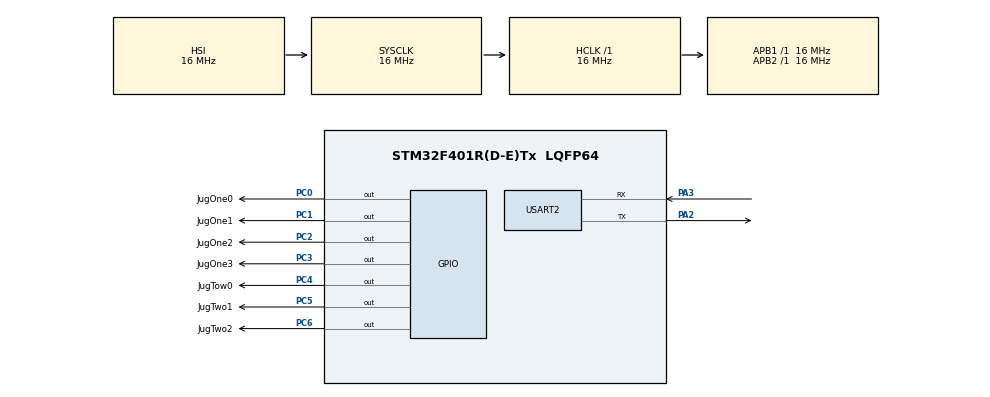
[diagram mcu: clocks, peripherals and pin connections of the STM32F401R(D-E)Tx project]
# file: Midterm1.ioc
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Mcu.Family=STM32F4
Mcu.Name=STM32F401R(D-E)Tx
Mcu.Package=LQFP64
NVIC.PriorityGroup=NVIC_PRIORITYGROUP_4
PA2.Mode=Asynchronous
PA2.Signal=USART2_TX
PA3.Mode=Asynchronous
PA3.Signal=USART2_RX
PC0.GPIO_Label=JugOne0
PC0.GPIO_PuPd=GPIO_PULLDOWN
PC0.Signal=GPIO_Output
PC1.GPIO_Label=JugOne1
PC1.GPIO_PuPd=GPIO_PULLDOWN
PC1.Signal=GPIO_Output
PC2.GPIO_Label=JugOne2
PC2.GPIO_PuPd=GPIO_PULLDOWN
PC2.Signal=GPIO_Output
PC3.GPIO_Label=JugOne3
PC3.GPIO_PuPd=GPIO_PULLDOWN
PC3.Signal=GPIO_Output
PC4.GPIO_Label=JugTow0
PC4.GPIO_PuPd=GPIO_PULLDOWN
PC4.Signal=GPIO_Output
PC5.GPIO_Label=JugTwo1
PC5.GPIO_PuPd=GPIO_PULLDOWN
PC5.Signal=GPIO_Output
PC6.GPIO_Label=JugTwo2
PC6.GPIO_PuPd=GPIO_PULLDOWN
PC6.Signal=GPIO_Output
ProjectManager.HeapSize=0x200
ProjectManager.StackSize=0x400
ProjectManager.TargetToolchain=TrueSTUDIO
RCC.AHBFreq_Value=16000000
RCC.APB1Freq_Value=16000000
RCC.APB2Freq_Value=16000000
RCC.CortexFreq_Value=16000000
RCC.HSE_VALUE=25000000
RCC.HSI_VALUE=16000000
RCC.LSE_VALUE=32768
RCC.SYSCLKFreq_VALUE=16000000
RCC.VCOOutputFreq_Value=192000000
USART2.VirtualMode=VM_ASYNC
board=custom

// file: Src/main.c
/* USER CODE BEGIN Header */
/**
  ******************************************************************************
  * @file           : main.c
  * @brief          : Main program body
  ******************************************************************************
  * @attention
  *
  * <h2><center>&copy; Copyright (c) 2019 STMicroelectronics.
  * All rights reserved.</center></h2>
  *
  * This software component is licensed by ST under BSD 3-Clause license,
  * the "License"; You may not use this file except in compliance with the
  * License. You may obtain a copy of the License at:
  *                        opensource.org/licenses/BSD-3-Clause
  *
  ******************************************************************************
  */
/* USER CODE END Header */

#include "main.h"

/* USER CODE BEGIN Includes */
#include "GPS.h"
#include "UART.h"
/* USER CODE END Includes */

UART_HandleTypeDef huart2;

void SystemClock_Config(void);
static void MX_GPIO_Init(void);
static void MX_USART2_UART_Init(void);

int main(void)
{
  /* USER CODE BEGIN 1 */
	UART uart;
	List solution;
	char uartSend[10];
  /* USER CODE END 1 */

  /* MCU Configuration--------------------------------------------------------*/

  /* Reset of all peripherals, Initializes the Flash interface and the Systick. */
  HAL_Init();

  /* USER CODE BEGIN Init */
  listInit(&solution);
  /* USER CODE END Init */

  /* Configure the system clock */
  SystemClock_Config();

  /* Initialize all configured peripherals */
  MX_GPIO_Init();
  MX_USART2_UART_Init();

  /* Infinite loop */
  /* USER CODE BEGIN WHILE */
  while (1)
  {

	if(generalProblemSolver(&solution))
	{
		Node tempNode;
		int listSize = solution.size;
		HAL_UART_Transmit(&huart2, "Solution found!\r\n", 17, 500);
		blinkLEDS();
		HAL_Delay(500);
		for(int i = 0; i < listSize; i++)
		{
			HAL_Delay(1000);
			tempNode = listPopBack(&solution);
			sendToLED(tempNode);
			sprintf(uartSend, "(%d,%d)", tempNode.element[0], tempNode.element[1]);
			//sprintf(uartSend, "(%d,%d,%d,%d)", tempNode.element[0], tempNode.element[1], tempNode.element[2], tempNode.element[3]);
			HAL_UART_Transmit(&huart2, uartSend, 5, 500);
			HAL_UART_Transmit(&huart2, "\r\n", 2, 500);
		}
	}
	else
		HAL_UART_Transmit(&huart2, "FAILED!", 7, 500);

	HAL_Delay(10000);
    /* USER CODE END WHILE */

  }
}

void SystemClock_Config(void)
{
  RCC_OscInitTypeDef RCC_OscInitStruct = {0};
  RCC_ClkInitTypeDef RCC_ClkInitStruct = {0};

  /** Configure the main internal regulator output voltage
  */
  __HAL_RCC_PWR_CLK_ENABLE();
  __HAL_PWR_VOLTAGESCALING_CONFIG(PWR_REGULATOR_VOLTAGE_SCALE2);
  /** Initializes the CPU, AHB and APB busses clocks
  */
  RCC_OscInitStruct.OscillatorType = RCC_OSCILLATORTYPE_HSI;
  RCC_OscInitStruct.HSIState = RCC_HSI_ON;
  RCC_OscInitStruct.HSICalibrationValue = RCC_HSICALIBRATION_DEFAULT;
  RCC_OscInitStruct.PLL.PLLState = RCC_PLL_NONE;
  if (HAL_RCC_OscConfig(&RCC_OscInitStruct) != HAL_OK)
  {
    Error_Handler();
  }
  /** Initializes the CPU, AHB and APB busses clocks
  */
  RCC_ClkInitStruct.ClockType = RCC_CLOCKTYPE_HCLK|RCC_CLOCKTYPE_SYSCLK
                              |RCC_CLOCKTYPE_PCLK1|RCC_CLOCKTYPE_PCLK2;
  RCC_ClkInitStruct.SYSCLKSource = RCC_SYSCLKSOURCE_HSI;
  RCC_ClkInitStruct.AHBCLKDivider = RCC_SYSCLK_DIV1;
  RCC_ClkInitStruct.APB1CLKDivider = RCC_HCLK_DIV1;
  RCC_ClkInitStruct.APB2CLKDivider = RCC_HCLK_DIV1;

  if (HAL_RCC_ClockConfig(&RCC_ClkInitStruct, FLASH_LATENCY_0) != HAL_OK)
  {
    Error_Handler();
  }
}

static void MX_USART2_UART_Init(void)
{

  huart2.Instance = USART2;
  huart2.Init.BaudRate = 115200;
  huart2.Init.WordLength = UART_WORDLENGTH_8B;
  huart2.Init.StopBits = UART_STOPBITS_1;
  huart2.Init.Parity = UART_PARITY_NONE;
  huart2.Init.Mode = UART_MODE_TX_RX;
  huart2.Init.HwFlowCtl = UART_HWCONTROL_NONE;
  huart2.Init.OverSampling = UART_OVERSAMPLING_16;
  if (HAL_UART_Init(&huart2) != HAL_OK)
  {
    Error_Handler();
  }

}

static void MX_GPIO_Init(void)
{
  GPIO_InitTypeDef GPIO_InitStruct = {0};

  /* GPIO Ports Clock Enable */
  __HAL_RCC_GPIOC_CLK_ENABLE();
  __HAL_RCC_GPIOA_CLK_ENABLE();

  /*Configure GPIO pin Output Level */
  HAL_GPIO_WritePin(GPIOC, JugOne0_Pin|JugOne1_Pin|JugOne2_Pin|JugOne3_Pin
                          |JugTow0_Pin|JugTwo1_Pin|JugTwo2_Pin, GPIO_PIN_RESET);

  /*Configure GPIO pins : JugOne0_Pin JugOne1_Pin JugOne2_Pin JugOne3_Pin
                           JugTow0_Pin JugTwo1_Pin JugTwo2_Pin */
  GPIO_InitStruct.Pin = JugOne0_Pin|JugOne1_Pin|JugOne2_Pin|JugOne3_Pin
                          |JugTow0_Pin|JugTwo1_Pin|JugTwo2_Pin;
  GPIO_InitStruct.Mode = GPIO_MODE_OUTPUT_PP;
  GPIO_InitStruct.Pull = GPIO_PULLDOWN;
  GPIO_InitStruct.Speed = GPIO_SPEED_FREQ_LOW;
  HAL_GPIO_Init(GPIOC, &GPIO_InitStruct);

}

void Error_Handler(void)
{
}

/************************ (C) COPYRIGHT STMicroelectronics *****END OF FILE****/
